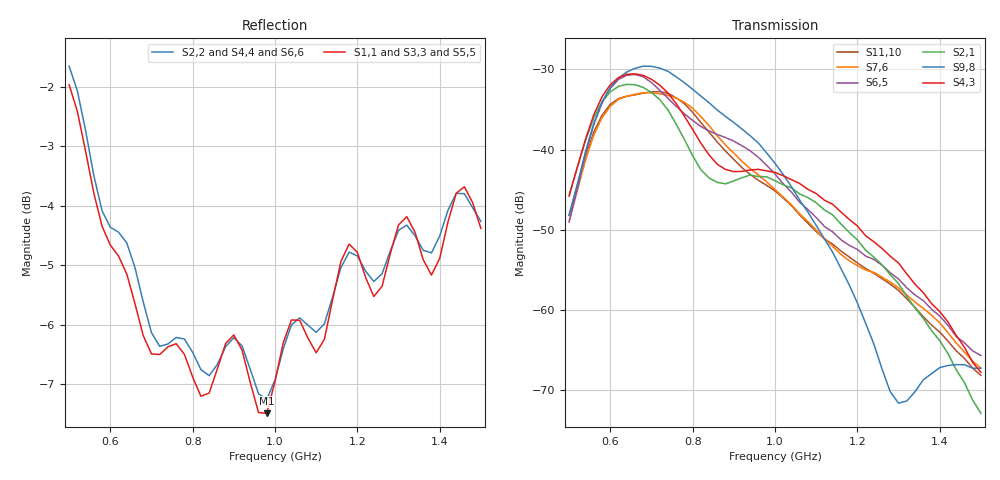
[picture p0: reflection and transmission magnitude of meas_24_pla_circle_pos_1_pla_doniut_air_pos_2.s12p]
! Converted from meas_24_pla_circle_pos_1_pla_doniut_air_pos_2.mat
! MATLAB 5.0 MAT-file, Platform: PCWIN64, Created on: Sat Nov 21 15:39:10 2026
! Ports 1-12 = antennas 1-12; IFBW=1000 Hz, power=0 dBm, doCalibration flag=0
! SW_A serial 12410080206: antennas 1 3 5 7 9 11
! SW_B serial 12410080235: antennas 2 4 6 8 10 12
! WARNING: Sij (i!=j) between two odd or two even ports was NOT MEASURED (NaN in source).
! Those entries are written as 0 0 placeholders. Do not treat them as data.
! Reference impedance 50 ohm is assumed (not stored in source).
# Hz S RI R 50
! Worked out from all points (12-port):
!   51 points, 500 MHz to 1.5 GHz, reference 50 ohm
!   strongest paths, dB at 500 MHz, 740 MHz, 1 GHz, 1.26 GHz, 1.5 GHz:
!     S4,3: -45.8, -32.9, -42.8, -52.3, -67.8
!     S9,8: -48.2, -30.2, -41.7, -67.4, -67.3
!     S2,1: -45.7, -35.0, -43.9, -54.4, -72.9
!     S6,5: -49.0, -33.6, -43.0, -54.4, -65.7
!     S7,6: -48.9, -33.2, -45.0, -55.9, -67.2
!     S11,10: -48.1, -33.0, -45.1, -56.1, -68.1
!   lowest |S11| = -7.5 dB at 980 MHz (marker M1), VSWR 2.46, Z = 26.9 - j25.2 ohm
!   |S11| at or under -10 dB: nowhere
